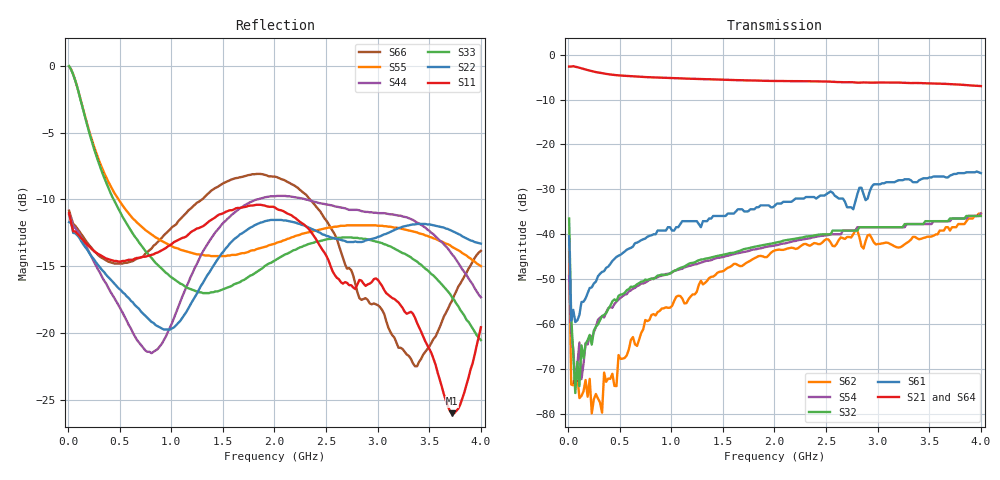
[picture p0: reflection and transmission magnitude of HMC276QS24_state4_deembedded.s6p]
! Hittite Microwave Corporation
! 20 Alpha Road
! Chelmsford, MA 01824
! Tel: 978-250-3343
! Fax: 978-250-3373
! Device: HMC276QS24, 0.7-3.0 GHz, GaAS MMIC 4x2 Switch Matrix in 24-lead QSOP package
! Misc: Data was de-embedded to package pins.
!  Port 1 = OP1
!  Port 2 = VL
!  Port 3 = VH
!  Port 4 = HH
!  Port 5 = HL
!  Port 6 = OP2
!  Vdd = +5 V
!  Vctl = 0 V[Logic 0] / +5 V[Logic 1]
!  State 04,  VL to OP1,  HH to OP2
!  Control Lines (Logic)
!  HV 1 = 0, Tone 1 = 0
!  HV 2 = 1, Tone 2 = 1
!  Data reformated to new Touchstone file format - Wed Jan 10 14:32:42 2007
# MHz S DB R 50
! 6 Port Network Data
! freq  dbS11  angS11  dbS12  angS12  dbS13  angS13  dbS14  angS14
!  dbS15  angS15  dbS16  angS16
!  dbS21  angS21  dbS22  angS22
!  dbS23  angS23  dbS24  angS24  dbS25  angS25  dbS26  angS26
!  dbS31  angS31  dbS32  angS32  dbS33  angS33  dbS34  angS34
!  dbS35  angS35  dbS36  angS36
!  dbS41  angS41  dbS42  angS42
!  dbS43  angS43  dbS44  angS44  dbS45  angS45  dbS46  angS46
!  dbS51  angS51  dbS52  angS52  dbS53  angS53  dbS54  angS54
!  dbS55  angS55  dbS56  angS56
!  dbS61  angS61  dbS62  angS62
!  dbS63  angS63  dbS64  angS64  dbS65  angS65  dbS66  angS66
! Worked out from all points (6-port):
!   201 points, 10 MHz to 4 GHz, reference 50 ohm
!   strongest paths, dB at 10 MHz, 1.008 GHz, 2.005 GHz, 3.002 GHz, 4 GHz:
!     S21: -2.7, -5.2, -5.8, -6.2, -7.0
!     S64: -2.6, -5.4, -6.2, -6.3, -7.0
!     S61: -40.5, -39.2, -33.6, -28.9, -26.4
!     S32: -36.5, -48.4, -41.9, -38.4, -35.9
!     S54: -49.2, -48.5, -42.5, -38.4, -35.4
!     S62: -43.4, -56.0, -43.6, -42.2, -35.4
!   lowest |S11| = -26.0 dB at 3.721 GHz (marker M1), VSWR 1.11, Z = 48.7 + j4.78 ohm
!   |S11| at or under -10 dB: start of sweep to end of sweep
